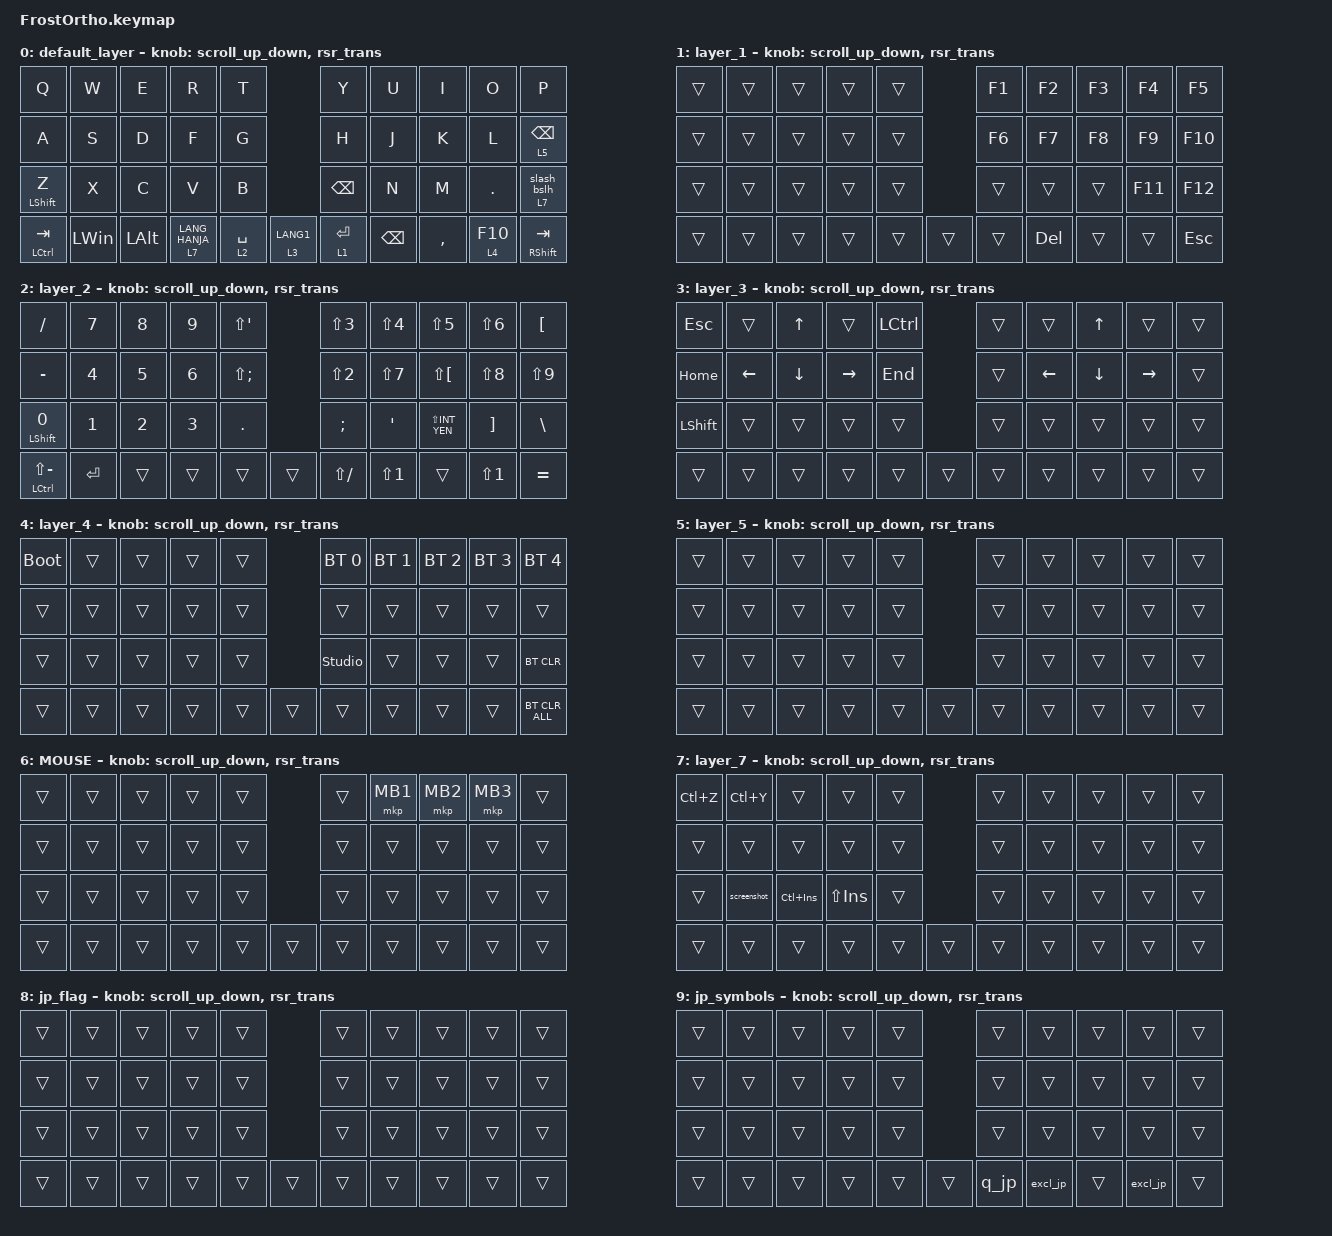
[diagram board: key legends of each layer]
#include <input/processors.dtsi>
#include <behaviors/runtime-sensor-rotate.dtsi>
#include <behaviors.dtsi>
#include <dt-bindings/zmk/bt.h>
#include <dt-bindings/zmk/keys.h>
#include <dt-bindings/zmk/pointing.h>
#include <behaviors/runtime-sensor-rotate.dtsi>

#define MOUSE 6

&mt {
    flavor = "balanced";
    quick-tap-ms = <0>;
};

// AML クリックしたときにタイムアウトを延長
&mkp_input_listener { input-processors = <&zip_temp_layer 6 10000>; };

/ {
    combos { compatible = "zmk,combos"; };

    macros {
        to_layer_0: to_layer_0 {
            compatible = "zmk,behavior-macro-one-param";
            #binding-cells = <1>;
            bindings = <&to 0 &macro_param_1to1 &kp MACRO_PLACEHOLDER>;
            label = "TO_LAYER_0";
        };

        // かな/英数を押したときに「日本語モード」フラグ（レイヤー8）を立てる/下ろす。パラメータ = 送るキー
        kana_on: kana_on {
            compatible = "zmk,behavior-macro-one-param";
            #binding-cells = <1>;
            bindings = <&macro_param_1to1>, <&kp MACRO_PLACEHOLDER>, <&tog_on 8>;
            label = "KANA_ON";
        };
        eisu_off: eisu_off {
            compatible = "zmk,behavior-macro-one-param";
            #binding-cells = <1>;
            bindings = <&macro_param_1to1>, <&kp MACRO_PLACEHOLDER>, <&tog_off 8>;
            label = "EISU_OFF";
        };
        // 日本語モード中でも半角の ? / ! を出す: 英数 → 記号 → かな
        q_jp: q_jp {
            compatible = "zmk,behavior-macro";
            #binding-cells = <0>;
            wait-ms = <50>;
            tap-ms = <10>;
            bindings = <&kp LANG2>, <&kp LS(SLASH)>, <&kp LANG1>;
            label = "Q_JP";
        };
        excl_jp: excl_jp {
            compatible = "zmk,behavior-macro";
            #binding-cells = <0>;
            wait-ms = <50>;
            tap-ms = <10>;
            bindings = <&kp LANG2>, <&kp LS(N1)>, <&kp LANG1>;
            label = "EXCL_JP";
        };

        screenshot: screenshot {
            compatible = "zmk,behavior-macro";
            #binding-cells = <0>;
            bindings =
                <&to 7>,
                <&macro_press>,
                <&kp LEFT_WIN &kp LEFT_SHIFT &kp S>,
                <&macro_release>,
                <&kp LEFT_WIN &kp LEFT_SHIFT &kp S>;

            label = "SCREENSHOT";
        };
    };

    behaviors {
        tog_on: tog_on {
            compatible = "zmk,behavior-toggle-layer";
            #binding-cells = <1>;
            toggle-mode = "on";
        };
        tog_off: tog_off {
            compatible = "zmk,behavior-toggle-layer";
            #binding-cells = <1>;
            toggle-mode = "off";
        };
        // &lt と同じ挙動（長押しでレイヤー）だが、タップ時にかな/英数を送りつつ日本語モードフラグを更新する
        lt_kana: lt_kana {
            compatible = "zmk,behavior-hold-tap";
            #binding-cells = <2>;
            flavor = "tap-preferred";
            tapping-term-ms = <200>;
            bindings = <&mo>, <&kana_on>;
            label = "LT_KANA";
        };
        lt_eisu: lt_eisu {
            compatible = "zmk,behavior-hold-tap";
            #binding-cells = <2>;
            flavor = "tap-preferred";
            tapping-term-ms = <200>;
            bindings = <&mo>, <&eisu_off>;
            label = "LT_EISU";
        };
        // 「/」キー: 通常は /、Shift を押しながらだと \（Mac の JIS では Option+¥ が \）
        slash_bslh: slash_bslh {
            compatible = "zmk,behavior-mod-morph";
            #binding-cells = <0>;
            bindings = <&kp SLASH>, <&kp LA(INT_YEN)>;
            mods = <(MOD_LSFT|MOD_RSFT)>;
        };
        lt_slash: lt_slash {
            compatible = "zmk,behavior-hold-tap";
            #binding-cells = <2>;
            flavor = "tap-preferred";
            tapping-term-ms = <200>;
            bindings = <&mo>, <&slash_bslh>;
            label = "LT_SLASH";
        };
        lt_to_layer_0: lt_to_layer_0 {
            compatible = "zmk,behavior-hold-tap";
            label = "LAYER_TAP_TO_0";
            bindings = <&mo>, <&to_layer_0>;

            #binding-cells = <2>;
            tapping-term-ms = <300>;
        };
        // Kyemap Editor用
        scroll_up_down: behavior_sensor_rotate_mouse_wheel_up_down {
            compatible = "zmk,behavior-sensor-rotate";
            #sensor-binding-cells = <0>;
            tap-ms = <20>;
            bindings = <&msc SCRL_UP>, <&msc SCRL_DOWN>;
        };
        vol_up_down: vol_up_down {
            compatible = "zmk,behavior-sensor-rotate";
            #sensor-binding-cells = <0>;
            tap-ms = <5>;
            bindings = <&kp C_VOL_DN>, <&kp C_VOL_UP>;
        };
        // DYA Studio用
        rsr_vol: rsr_vol {
            compatible = "zmk,behavior-runtime-sensor-rotate";
            #sensor-binding-cells = <0>;
            tap-ms = <5>;
            cw-binding = <&kp C_VOL_DN>;
            ccw-binding = <&kp C_VOL_UP>;
        };
    };

    conditional_layers {
        compatible = "zmk,conditional-layers";
        jp_symbols_layer {
            if-layers = <2 8>;
            then-layer = <9>;
        };
    };

    keymap {
        compatible = "zmk,keymap";

        default_layer {
            bindings = <
&kp Q                 &kp W         &kp E         &kp R             &kp T                         &kp Y        &kp U          &kp I      &kp O         &kp P
&kp A                 &kp S         &kp D         &kp F             &kp G                         &kp H        &kp J          &kp K      &kp L         &lt 5 BACKSPACE
&mt LEFT_SHIFT Z      &kp X         &kp C         &kp V             &kp B                         &kp BACKSPACE  &kp N          &kp M      &kp PERIOD    &lt_slash 7 0
&mt LEFT_CONTROL TAB  &kp LEFT_WIN  &kp LEFT_ALT  &lt_eisu 7 LANG_HANJA  &lt 2 SPACE  &lt_kana 3 LANG1      &lt 1 ENTER    &kp BACKSPACE  &kp COMMA  &lt 4 F10     &mt RIGHT_SHIFT TAB
            >;

            sensor-bindings = <&scroll_up_down &rsr_trans>;
        };

        layer_1 {
            bindings = <
&trans  &trans  &trans  &trans  &trans              &kp F1  &kp F2   &kp F3  &kp F4   &kp F5
&trans  &trans  &trans  &trans  &trans              &kp F6  &kp F7   &kp F8  &kp F9   &kp F10
&trans  &trans  &trans  &trans  &trans              &trans  &trans   &trans  &kp F11  &kp F12
&trans  &trans  &trans  &trans  &trans  &trans      &trans  &kp DEL  &trans  &trans   &kp ESCAPE
            >;

            sensor-bindings = <&scroll_up_down &rsr_trans>;
        };

        layer_2 {
            bindings = <
&kp SLASH                   &kp N7     &kp N8  &kp N9  &kp LS(SQT)                    &kp LS(NUMBER_3)  &kp LS(NUMBER_4)  &kp LS(NUMBER_5)      &kp LS(NUMBER_6)   &kp LEFT_BRACKET
&kp MINUS                   &kp N4     &kp N5  &kp N6  &kp LS(SEMICOLON)              &kp LS(N2)        &kp LS(N7)        &kp LS(LEFT_BRACKET)  &kp LS(NUMBER_8)   &kp LS(NUMBER_9)
&mt LEFT_SHIFT N0           &kp N1     &kp N2  &kp N3  &kp PERIOD                     &kp SEMICOLON     &kp SQT           &kp LS(INT_YEN)       &kp RIGHT_BRACKET  &kp BACKSLASH
&mt LEFT_CONTROL LS(MINUS)  &kp ENTER  &trans  &trans  &trans             &trans      &kp LS(SLASH)     &kp LS(NUMBER_1)  &trans                &kp LS(NUMBER_1)   &kp EQUAL
            >;

            sensor-bindings = <&scroll_up_down &rsr_trans>;
        };

        layer_3 {
            bindings = <
&kp ESCAPE      &trans          &kp UP_ARROW    &trans           &kp LEFT_CONTROL    &trans  &trans          &kp UP_ARROW    &trans           &trans
&kp HOME        &kp LEFT_ARROW  &kp DOWN_ARROW  &kp RIGHT_ARROW  &kp END             &trans  &kp LEFT_ARROW  &kp DOWN_ARROW  &kp RIGHT_ARROW  &trans
&kp LEFT_SHIFT  &trans          &trans          &trans           &trans              &trans  &trans  &trans  &trans  &trans
&trans          &trans          &trans          &trans           &trans  &trans      &trans  &trans  &trans  &trans  &trans
            >;

            sensor-bindings = <&scroll_up_down &rsr_trans>;
        };

        layer_4 {
            bindings = <
&bootloader  &trans  &trans  &trans  &trans              &bt BT_SEL 0    &bt BT_SEL 1  &bt BT_SEL 2  &bt BT_SEL 3  &bt BT_SEL 4
&trans  &trans  &trans  &trans  &trans              &trans          &trans        &trans        &trans        &trans
&trans  &trans  &trans  &trans  &trans              &studio_unlock  &trans        &trans        &trans        &bt BT_CLR
&trans  &trans  &trans  &trans  &trans  &trans      &trans          &trans        &trans        &trans        &bt BT_CLR_ALL
            >;

            sensor-bindings = <&scroll_up_down &rsr_trans>;
        };

        layer_5 {
            bindings = <
&trans  &trans  &trans  &trans  &trans              &trans  &trans  &trans  &trans  &trans
&trans  &trans  &trans  &trans  &trans              &trans  &trans  &trans  &trans  &trans
&trans  &trans  &trans  &trans  &trans              &trans  &trans  &trans  &trans  &trans
&trans  &trans  &trans  &trans  &trans  &trans      &trans  &trans  &trans  &trans  &trans
            >;

            sensor-bindings = <&scroll_up_down &rsr_trans>;
        };

        MOUSE {
            bindings = <
&trans  &trans  &trans  &trans  &trans              &trans  &mkp MB1  &mkp MB2  &mkp MB3  &trans
&trans  &trans  &trans  &trans  &trans              &trans  &trans    &trans    &trans    &trans
&trans  &trans  &trans  &trans  &trans              &trans  &trans    &trans    &trans    &trans
&trans  &trans  &trans  &trans  &trans  &trans      &trans  &trans    &trans    &trans    &trans
            >;

            sensor-bindings = <&scroll_up_down &rsr_trans>;
        };

        layer_7 {
            bindings = <
&kp LC(Z)  &kp LC(Y)    &trans       &trans       &trans              &trans  &trans  &trans  &trans  &trans
&trans     &trans       &trans       &trans       &trans              &trans  &trans  &trans  &trans  &trans
&trans     &screenshot  &kp LC(INS)  &kp LS(INS)  &trans              &trans  &trans  &trans  &trans  &trans
&trans     &trans       &trans       &trans       &trans  &trans      &trans  &trans  &trans  &trans  &trans
            >;

            sensor-bindings = <&scroll_up_down &rsr_trans>;
        };

        // レイヤー8: 「日本語モード」フラグ。かなタップでON、英数タップでOFF。キーは全部透過
        jp_flag {
            bindings = <
&trans  &trans  &trans  &trans  &trans              &trans  &trans  &trans  &trans  &trans
&trans  &trans  &trans  &trans  &trans              &trans  &trans  &trans  &trans  &trans
&trans  &trans  &trans  &trans  &trans              &trans  &trans  &trans  &trans  &trans
&trans  &trans  &trans  &trans  &trans  &trans      &trans  &trans  &trans  &trans  &trans
            >;

            sensor-bindings = <&scroll_up_down &rsr_trans>;
        };

        // レイヤー9: Space長押し（2）かつ日本語モード（8）のときだけ有効。? と ! を半角で出すマクロ
        jp_symbols {
            bindings = <
&trans  &trans  &trans  &trans  &trans              &trans  &trans  &trans  &trans  &trans
&trans  &trans  &trans  &trans  &trans              &trans  &trans  &trans  &trans  &trans
&trans  &trans  &trans  &trans  &trans              &trans  &trans  &trans  &trans  &trans
&trans  &trans  &trans  &trans  &trans  &trans      &q_jp   &excl_jp  &trans  &excl_jp  &trans
            >;

            sensor-bindings = <&scroll_up_down &rsr_trans>;
        };
    };
};
